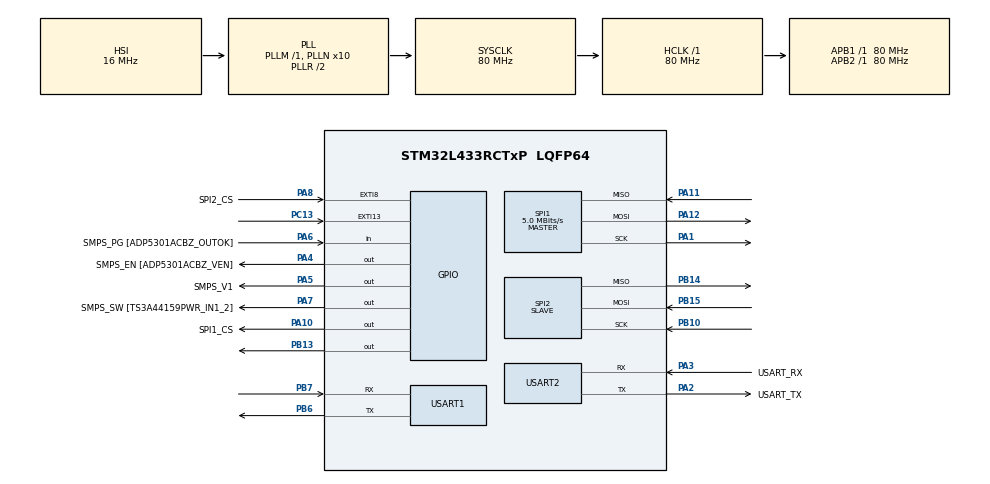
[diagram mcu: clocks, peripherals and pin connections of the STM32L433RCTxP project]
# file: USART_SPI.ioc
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Mcu.Family=STM32L4
Mcu.Name=STM32L433RCTxP
Mcu.Package=LQFP64
NVIC.EXTI15_10_IRQn=true\:0\:0\:false\:false\:true\:true\:true\:true
NVIC.EXTI9_5_IRQn=true\:0\:0\:false\:false\:true\:true\:true\:true
NVIC.PriorityGroup=NVIC_PRIORITYGROUP_4
NVIC.USART1_IRQn=true\:0\:0\:false\:false\:true\:true\:true\:true
NVIC.USART2_IRQn=true\:0\:0\:false\:false\:true\:true\:true\:true
PA1.Mode=Full_Duplex_Master
PA1.Signal=SPI1_SCK
PA10.GPIO_Label=SPI1_CS
PA10.PinState=GPIO_PIN_SET
PA10.Signal=GPIO_Output
PA11.Mode=Full_Duplex_Master
PA11.Signal=SPI1_MISO
PA12.Mode=Full_Duplex_Master
PA12.Signal=SPI1_MOSI
PA14\ (JTCK-SWCLK).GPIO_Label=TCK
PA14\ (JTCK-SWCLK).Signal=SYS_JTCK-SWCLK
PA2.GPIO_Label=USART_TX
PA2.GPIO_Mode=GPIO_MODE_AF_PP
PA2.GPIO_PuPd=GPIO_NOPULL
PA2.GPIO_Speed=GPIO_SPEED_FREQ_VERY_HIGH
PA2.Mode=Asynchronous
PA2.Signal=USART2_TX
PA3.GPIO_Label=USART_RX
PA3.GPIO_Mode=GPIO_MODE_AF_PP
PA3.GPIO_PuPd=GPIO_NOPULL
PA3.GPIO_Speed=GPIO_SPEED_FREQ_VERY_HIGH
PA3.Mode=Asynchronous
PA3.Signal=USART2_RX
PA4.GPIO_Label=SMPS_EN [ADP5301ACBZ_VEN]
PA4.Signal=GPIO_Output
PA5.GPIO_Label=SMPS_V1
PA5.GPIO_ModeDefaultOutputPP=GPIO_MODE_OUTPUT_PP
PA5.GPIO_PuPd=GPIO_NOPULL
PA5.GPIO_Speed=GPIO_SPEED_FREQ_LOW
PA5.Signal=GPIO_Output
PA6.GPIO_Label=SMPS_PG [ADP5301ACBZ_OUTOK]
PA6.GPIO_PuPd=GPIO_PULLUP
PA6.Signal=GPIO_Input
PA7.GPIO_Label=SMPS_SW [TS3A44159PWR_IN1_2]
PA7.Signal=GPIO_Output
PA8.GPIO_Label=SPI2_CS
PA8.GPIO_ModeDefaultEXTI=GPIO_MODE_IT_FALLING
PA8.GPIO_PuPd=GPIO_PULLUP
PA8.Signal=GPXTI8
PB10.Mode=Full_Duplex_Slave
PB10.Signal=SPI2_SCK
PB13.Signal=GPIO_Output
PB14.Mode=Full_Duplex_Slave
PB14.Signal=SPI2_MISO
PB15.Mode=Full_Duplex_Slave
PB15.Signal=SPI2_MOSI
PB3\ (JTDO-TRACESWO).GPIO_Label=SWO
PB3\ (JTDO-TRACESWO).Signal=SYS_JTDO-SWO
PB6.Mode=Asynchronous
PB6.Signal=USART1_TX
PB7.Mode=Asynchronous
PB7.Signal=USART1_RX
PC13.GPIO_ModeDefaultEXTI=GPIO_MODE_IT_RISING
PC13.Signal=GPXTI13
PC14-OSC32_IN\ (PC14).Mode=LSE-External-Oscillator
PC14-OSC32_IN\ (PC14).Signal=RCC_OSC32_IN
PC15-OSC32_OUT\ (PC15).Mode=LSE-External-Oscillator
PC15-OSC32_OUT\ (PC15).Signal=RCC_OSC32_OUT
PH0-OSC_IN\ (PH0).GPIO_Label=MCO
PH0-OSC_IN\ (PH0).Mode=HSE-External-Clock-Source
PH0-OSC_IN\ (PH0).Signal=RCC_OSC_IN
PH1-OSC_OUT\ (PH1).Signal=RCC_OSC_OUT
ProjectManager.HeapSize=0x200
ProjectManager.StackSize=0x400
ProjectManager.TargetToolchain=EWARM V8.32
RCC.ADCFreq_Value=64000000
RCC.AHBFreq_Value=80000000
RCC.APB1Freq_Value=80000000
RCC.APB1TimFreq_Value=80000000
RCC.APB2Freq_Value=80000000
RCC.APB2TimFreq_Value=80000000
RCC.CortexFreq_Value=80000000
RCC.HCLKFreq_Value=80000000
RCC.HSE_VALUE=8000000
RCC.HSI48_VALUE=48000000
RCC.HSI_VALUE=16000000
RCC.MSI_VALUE=4000000
RCC.PLLN=10
RCC.PLLSourceVirtual=RCC_PLLSOURCE_HSI
RCC.PREFETCH_ENABLE=1
RCC.SYSCLKFreq_VALUE=80000000
RCC.SYSCLKSource=RCC_SYSCLKSOURCE_PLLCLK
RCC.USBFreq_Value=64000000
RCC.VCOOutputFreq_Value=160000000
SPI1.BaudRatePrescaler=SPI_BAUDRATEPRESCALER_16
SPI1.CLKPhase=SPI_PHASE_2EDGE
SPI1.CalculateBaudRate=5.0 MBits/s
SPI1.DataSize=SPI_DATASIZE_8BIT
SPI1.Direction=SPI_DIRECTION_2LINES
SPI1.Mode=SPI_MODE_MASTER
SPI1.VirtualType=VM_MASTER
SPI2.CLKPhase=SPI_PHASE_2EDGE
SPI2.DataSize=SPI_DATASIZE_8BIT
SPI2.Direction=SPI_DIRECTION_2LINES
SPI2.Mode=SPI_MODE_SLAVE
SPI2.VirtualType=VM_SLAVE
USART1.VirtualMode-Asynchronous=VM_ASYNC
USART2.VirtualMode-Asynchronous=VM_ASYNC
board=NUCLEO-L433RC-P

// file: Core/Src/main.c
/* USER CODE BEGIN Header */
/**
******************************************************************************
* @file           : main.c
* @brief          : Main program body
******************************************************************************
* @attention
*
* Copyright (c) 2022 STMicroelectronics.
* All rights reserved.
*
* This software is licensed under terms that can be found in the LICENSE file
* in the root directory of this software component.
* If no LICENSE file comes with this software, it is provided AS-IS.
*
******************************************************************************
*/
/* USER CODE END Header */
#include "main.h"

SPI_HandleTypeDef hspi1;
SPI_HandleTypeDef hspi2;

UART_HandleTypeDef huart1;
UART_HandleTypeDef huart2;

/* USER CODE BEGIN PV */
uint8_t Test_rx[10];
uint8_t temp_rx;
uint8_t temp_tx;
uint8_t temp_dumy=0;

void HAL_GPIO_EXTI_Callback(uint16_t GPIO_Pin){
  if(GPIO_Pin == GPIO_PIN_8){
    // Falling Edge Intrrupt

    HAL_SPI_Receive(&hspi2, &temp_rx, 1, 0); // SPI Slave Read
    HAL_UART_Transmit(&huart2,&temp_rx,1,100); // UART2 Send
  }

}
void HAL_UART_RxCpltCallback(UART_HandleTypeDef *huart)
{

  // USART1 Rx Interrupt
  if (huart->Instance == USART1) {
    HAL_UART_Receive_IT(&huart1, &temp_rx, 1);

    HAL_GPIO_WritePin(GPIOA,GPIO_PIN_10,GPIO_PIN_SET); //CS LOW
    HAL_SPI_Transmit(&hspi1, &temp_rx, 1, 1); // SPI Master Send
    HAL_GPIO_WritePin(GPIOA,GPIO_PIN_10,GPIO_PIN_RESET); //CS HIGH

  }
  else if(huart->Instance == USART2){
    HAL_UART_Receive_IT(&huart2, &temp_rx, 1);

    HAL_SPI_Transmit(&hspi2, &temp_rx, 1, 1); //SPI Slave Send
    HAL_SPI_TransmitReceive(&hspi1,&temp_dumy ,&temp_tx, 1, 1);// SPI Master dumy-send/data-read

    HAL_UART_Transmit(&huart1,&temp_tx,1,100); // Read Data UART1 Send
  }

}
/* USER CODE END PV */

void SystemClock_Config(void);
static void MX_GPIO_Init(void);
static void MX_USART2_UART_Init(void);
static void MX_SPI2_Init(void);
static void MX_SPI1_Init(void);
static void MX_USART1_UART_Init(void);

int main(void)
{

  /* MCU Configuration--------------------------------------------------------*/

  /* Reset of all peripherals, Initializes the Flash interface and the Systick. */
  HAL_Init();

  /* Configure the system clock */
  SystemClock_Config();

  /* Initialize all configured peripherals */
  MX_GPIO_Init();
  MX_USART2_UART_Init();
  MX_SPI2_Init();
  MX_SPI1_Init();
  MX_USART1_UART_Init();

  /* Infinite loop */
  /* USER CODE BEGIN WHILE */
  HAL_UART_Transmit(&huart1,"input data : ",15,100);
  HAL_UART_Transmit(&huart2,"input data : ",15,100);

  HAL_UART_Receive_IT(&huart1, &temp_rx, 1);
  HAL_UART_Receive_IT(&huart2, &temp_rx, 1);

  while (1)
  {

    /* USER CODE END WHILE */

  }
}

void SystemClock_Config(void)
{
  RCC_OscInitTypeDef RCC_OscInitStruct = {0};
  RCC_ClkInitTypeDef RCC_ClkInitStruct = {0};

  /** Configure the main internal regulator output voltage
  */
  if (HAL_PWREx_ControlVoltageScaling(PWR_REGULATOR_VOLTAGE_SCALE1) != HAL_OK)
  {
    Error_Handler();
  }

  /** Initializes the RCC Oscillators according to the specified parameters
  * in the RCC_OscInitTypeDef structure.
  */
  RCC_OscInitStruct.OscillatorType = RCC_OSCILLATORTYPE_HSI;
  RCC_OscInitStruct.HSIState = RCC_HSI_ON;
  RCC_OscInitStruct.HSICalibrationValue = RCC_HSICALIBRATION_DEFAULT;
  RCC_OscInitStruct.PLL.PLLState = RCC_PLL_ON;
  RCC_OscInitStruct.PLL.PLLSource = RCC_PLLSOURCE_HSI;
  RCC_OscInitStruct.PLL.PLLM = 1;
  RCC_OscInitStruct.PLL.PLLN = 10;
  RCC_OscInitStruct.PLL.PLLP = RCC_PLLP_DIV7;
  RCC_OscInitStruct.PLL.PLLQ = RCC_PLLQ_DIV2;
  RCC_OscInitStruct.PLL.PLLR = RCC_PLLR_DIV2;
  if (HAL_RCC_OscConfig(&RCC_OscInitStruct) != HAL_OK)
  {
    Error_Handler();
  }

  /** Initializes the CPU, AHB and APB buses clocks
  */
  RCC_ClkInitStruct.ClockType = RCC_CLOCKTYPE_HCLK|RCC_CLOCKTYPE_SYSCLK
    |RCC_CLOCKTYPE_PCLK1|RCC_CLOCKTYPE_PCLK2;
  RCC_ClkInitStruct.SYSCLKSource = RCC_SYSCLKSOURCE_PLLCLK;
  RCC_ClkInitStruct.AHBCLKDivider = RCC_SYSCLK_DIV1;
  RCC_ClkInitStruct.APB1CLKDivider = RCC_HCLK_DIV1;
  RCC_ClkInitStruct.APB2CLKDivider = RCC_HCLK_DIV1;

  if (HAL_RCC_ClockConfig(&RCC_ClkInitStruct, FLASH_LATENCY_4) != HAL_OK)
  {
    Error_Handler();
  }
}

static void MX_SPI1_Init(void)
{

  /* SPI1 parameter configuration*/
  hspi1.Instance = SPI1;
  hspi1.Init.Mode = SPI_MODE_MASTER;
  hspi1.Init.Direction = SPI_DIRECTION_2LINES;
  hspi1.Init.DataSize = SPI_DATASIZE_8BIT;
  hspi1.Init.CLKPolarity = SPI_POLARITY_LOW;
  hspi1.Init.CLKPhase = SPI_PHASE_2EDGE;
  hspi1.Init.NSS = SPI_NSS_SOFT;
  hspi1.Init.BaudRatePrescaler = SPI_BAUDRATEPRESCALER_16;
  hspi1.Init.FirstBit = SPI_FIRSTBIT_MSB;
  hspi1.Init.TIMode = SPI_TIMODE_DISABLE;
  hspi1.Init.CRCCalculation = SPI_CRCCALCULATION_DISABLE;
  hspi1.Init.CRCPolynomial = 7;
  hspi1.Init.CRCLength = SPI_CRC_LENGTH_DATASIZE;
  hspi1.Init.NSSPMode = SPI_NSS_PULSE_DISABLE;
  if (HAL_SPI_Init(&hspi1) != HAL_OK)
  {
    Error_Handler();
  }

}

static void MX_SPI2_Init(void)
{

  /* SPI2 parameter configuration*/
  hspi2.Instance = SPI2;
  hspi2.Init.Mode = SPI_MODE_SLAVE;
  hspi2.Init.Direction = SPI_DIRECTION_2LINES;
  hspi2.Init.DataSize = SPI_DATASIZE_8BIT;
  hspi2.Init.CLKPolarity = SPI_POLARITY_LOW;
  hspi2.Init.CLKPhase = SPI_PHASE_2EDGE;
  hspi2.Init.NSS = SPI_NSS_SOFT;
  hspi2.Init.FirstBit = SPI_FIRSTBIT_MSB;
  hspi2.Init.TIMode = SPI_TIMODE_DISABLE;
  hspi2.Init.CRCCalculation = SPI_CRCCALCULATION_DISABLE;
  hspi2.Init.CRCPolynomial = 7;
  hspi2.Init.CRCLength = SPI_CRC_LENGTH_DATASIZE;
  hspi2.Init.NSSPMode = SPI_NSS_PULSE_DISABLE;
  if (HAL_SPI_Init(&hspi2) != HAL_OK)
  {
    Error_Handler();
  }

}

static void MX_USART1_UART_Init(void)
{

  huart1.Instance = USART1;
  huart1.Init.BaudRate = 115200;
  huart1.Init.WordLength = UART_WORDLENGTH_8B;
  huart1.Init.StopBits = UART_STOPBITS_1;
  huart1.Init.Parity = UART_PARITY_NONE;
  huart1.Init.Mode = UART_MODE_TX_RX;
  huart1.Init.HwFlowCtl = UART_HWCONTROL_NONE;
  huart1.Init.OverSampling = UART_OVERSAMPLING_16;
  huart1.Init.OneBitSampling = UART_ONE_BIT_SAMPLE_DISABLE;
  huart1.AdvancedInit.AdvFeatureInit = UART_ADVFEATURE_NO_INIT;
  if (HAL_UART_Init(&huart1) != HAL_OK)
  {
    Error_Handler();
  }

}

static void MX_USART2_UART_Init(void)
{

  huart2.Instance = USART2;
  huart2.Init.BaudRate = 115200;
  huart2.Init.WordLength = UART_WORDLENGTH_8B;
  huart2.Init.StopBits = UART_STOPBITS_1;
  huart2.Init.Parity = UART_PARITY_NONE;
  huart2.Init.Mode = UART_MODE_TX_RX;
  huart2.Init.HwFlowCtl = UART_HWCONTROL_NONE;
  huart2.Init.OverSampling = UART_OVERSAMPLING_16;
  huart2.Init.OneBitSampling = UART_ONE_BIT_SAMPLE_DISABLE;
  huart2.AdvancedInit.AdvFeatureInit = UART_ADVFEATURE_NO_INIT;
  if (HAL_UART_Init(&huart2) != HAL_OK)
  {
    Error_Handler();
  }

}

static void MX_GPIO_Init(void)
{
  GPIO_InitTypeDef GPIO_InitStruct = {0};

  /* GPIO Ports Clock Enable */
  __HAL_RCC_GPIOC_CLK_ENABLE();
  __HAL_RCC_GPIOH_CLK_ENABLE();
  __HAL_RCC_GPIOA_CLK_ENABLE();
  __HAL_RCC_GPIOB_CLK_ENABLE();

  /*Configure GPIO pin Output Level */
  HAL_GPIO_WritePin(GPIOA, SMPS_EN_Pin|SMPS_V1_Pin|SMPS_SW_Pin, GPIO_PIN_RESET);

  /*Configure GPIO pin Output Level */
  HAL_GPIO_WritePin(GPIOB, GPIO_PIN_13, GPIO_PIN_RESET);

  /*Configure GPIO pin Output Level */
  HAL_GPIO_WritePin(SPI1_CS_GPIO_Port, SPI1_CS_Pin, GPIO_PIN_SET);

  /*Configure GPIO pin : PC13 */
  GPIO_InitStruct.Pin = GPIO_PIN_13;
  GPIO_InitStruct.Mode = GPIO_MODE_IT_RISING;
  GPIO_InitStruct.Pull = GPIO_NOPULL;
  HAL_GPIO_Init(GPIOC, &GPIO_InitStruct);

  /*Configure GPIO pins : SMPS_EN_Pin SMPS_V1_Pin SMPS_SW_Pin SPI1_CS_Pin */
  GPIO_InitStruct.Pin = SMPS_EN_Pin|SMPS_V1_Pin|SMPS_SW_Pin|SPI1_CS_Pin;
  GPIO_InitStruct.Mode = GPIO_MODE_OUTPUT_PP;
  GPIO_InitStruct.Pull = GPIO_NOPULL;
  GPIO_InitStruct.Speed = GPIO_SPEED_FREQ_LOW;
  HAL_GPIO_Init(GPIOA, &GPIO_InitStruct);

  /*Configure GPIO pin : SMPS_PG_Pin */
  GPIO_InitStruct.Pin = SMPS_PG_Pin;
  GPIO_InitStruct.Mode = GPIO_MODE_INPUT;
  GPIO_InitStruct.Pull = GPIO_PULLUP;
  HAL_GPIO_Init(SMPS_PG_GPIO_Port, &GPIO_InitStruct);

  /*Configure GPIO pin : PB13 */
  GPIO_InitStruct.Pin = GPIO_PIN_13;
  GPIO_InitStruct.Mode = GPIO_MODE_OUTPUT_PP;
  GPIO_InitStruct.Pull = GPIO_NOPULL;
  GPIO_InitStruct.Speed = GPIO_SPEED_FREQ_LOW;
  HAL_GPIO_Init(GPIOB, &GPIO_InitStruct);

  /*Configure GPIO pin : SPI2_CS_Pin */
  GPIO_InitStruct.Pin = SPI2_CS_Pin;
  GPIO_InitStruct.Mode = GPIO_MODE_IT_FALLING;
  GPIO_InitStruct.Pull = GPIO_PULLUP;
  HAL_GPIO_Init(SPI2_CS_GPIO_Port, &GPIO_InitStruct);

  /* EXTI interrupt init*/
  HAL_NVIC_SetPriority(EXTI9_5_IRQn, 0, 0);
  HAL_NVIC_EnableIRQ(EXTI9_5_IRQn);

  HAL_NVIC_SetPriority(EXTI15_10_IRQn, 0, 0);
  HAL_NVIC_EnableIRQ(EXTI15_10_IRQn);

}

void Error_Handler(void)
{
  __disable_irq();
  while (1)
  {
  }
}
